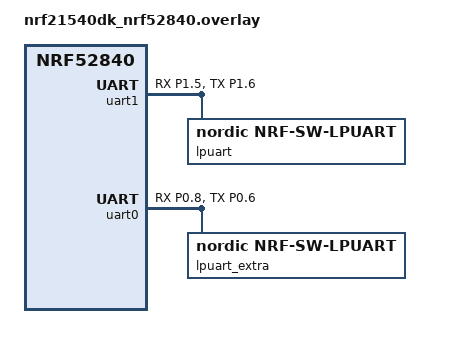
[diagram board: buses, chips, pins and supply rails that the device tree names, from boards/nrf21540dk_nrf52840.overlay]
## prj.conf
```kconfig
#
# Copyright (c) 2020 Nordic Semiconductor
#
# SPDX-License-Identifier: LicenseRef-Nordic-5-Clause
#
CONFIG_NRF_SW_LPUART=y

# Sample is showing low power capabilities of low power uart module thus
# console/logging uart is disabled.

CONFIG_CONSOLE=n
CONFIG_UART_CONSOLE=n
CONFIG_NRFX_GPIOTE_NUM_OF_EVT_HANDLERS=4
```

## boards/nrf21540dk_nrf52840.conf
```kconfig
#
# Copyright (c) 2024 Nordic Semiconductor
#
# SPDX-License-Identifier: LicenseRef-Nordic-5-Clause
#
CONFIG_UART_1_ASYNC=y
CONFIG_UART_1_INTERRUPT_DRIVEN=n
CONFIG_UART_1_NRF_HW_ASYNC=y
CONFIG_UART_1_NRF_HW_ASYNC_TIMER=2
CONFIG_UART_1_NRF_ASYNC_LOW_POWER=y
CONFIG_NRFX_TIMER2=y

CONFIG_UART_2_ASYNC=y
CONFIG_UART_2_INTERRUPT_DRIVEN=n
CONFIG_UART_2_NRF_HW_ASYNC=y
CONFIG_UART_2_NRF_HW_ASYNC_TIMER=3
CONFIG_UART_2_NRF_ASYNC_LOW_POWER=y
CONFIG_NRFX_TIMER3=y
```

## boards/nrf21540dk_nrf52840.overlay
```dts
/* SPDX-License-Identifier: LicenseRef-Nordic-5-Clause */

&uart1 {
	status = "okay";
	pinctrl-0 = <&uart1_default>;
	pinctrl-1 = <&uart1_sleep>;
	pinctrl-names = "default", "sleep";
	lpuart: nrf-sw-lpuart {
		compatible = "nordic,nrf-sw-lpuart";
		status = "okay";
		req-pin = <39>;
		rdy-pin = <40>;
	};
};

&uart0 {
	status = "okay";
	pinctrl-0 = <&uart0_default>;
	pinctrl-1 = <&uart0_sleep>;
	pinctrl-names = "default", "sleep";
	lpuart_extra: nrf-sw-lpuart {
		compatible = "nordic,nrf-sw-lpuart";
		status = "okay";
		req-pin = <5>;
		rdy-pin = <7>;
	};
};



&gpiote {
	interrupts = <6 NRF_DEFAULT_IRQ_PRIORITY>;
};

&pinctrl {
	uart1_default: uart1_default {
		group1 {
			psels = <NRF_PSEL(UART_RX, 1, 5)>,
				<NRF_PSEL(UART_TX, 1, 6)>,
				<NRF_PSEL_DISCONNECTED(UART_CTS)>,
				<NRF_PSEL_DISCONNECTED(UART_CTS)>;
		};

		group2 {
			psels = <NRF_PSEL(UART_RX, 1, 5)>,
				<NRF_PSEL(UART_TX, 1, 6)>,
				<NRF_PSEL_DISCONNECTED(UART_CTS)>,
				<NRF_PSEL_DISCONNECTED(UART_CTS)>;
		};
	};

	uart1_sleep: uart1_sleep {
		group1 {
			psels = <NRF_PSEL(UART_RX, 1, 5)>,
				<NRF_PSEL(UART_TX, 1, 6)>,
				<NRF_PSEL_DISCONNECTED(UART_CTS)>,
				<NRF_PSEL_DISCONNECTED(UART_CTS)>;
			low-power-enable;
		};
	};

	uart0_default: uart0_default {
		group1 {
			psels = <NRF_PSEL(UART_RX, 0, 8)>,
				<NRF_PSEL(UART_TX, 0, 6)>,
				<NRF_PSEL_DISCONNECTED(UART_CTS)>,
				<NRF_PSEL_DISCONNECTED(UART_CTS)>;
		};

		group2 {
			psels = <NRF_PSEL(UART_RX, 0, 8)>,
				<NRF_PSEL(UART_TX, 0, 6)>,
				<NRF_PSEL_DISCONNECTED(UART_CTS)>,
				<NRF_PSEL_DISCONNECTED(UART_CTS)>;
		};
	};

	uart0_sleep: uart0_sleep {
		group1 {
			psels = <NRF_PSEL(UART_RX, 0, 8)>,
				<NRF_PSEL(UART_TX, 0, 6)>,
				<NRF_PSEL_DISCONNECTED(UART_CTS)>,
				<NRF_PSEL_DISCONNECTED(UART_CTS)>;
			low-power-enable;
		};
	};
};
```

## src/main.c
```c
/*
 * Copyright (c) 2020 Nordic Semiconductor ASA
 *
 * SPDX-License-Identifier: LicenseRef-Nordic-5-Clause
 */

#include <string.h>
#include <stdio.h>
#include <zephyr/kernel.h>
#include <zephyr/device.h>
#include <zephyr/devicetree.h>
#include <zephyr/logging/log.h>
#include <zephyr/drivers/uart.h>

LOG_MODULE_REGISTER(app);

#define BUF_SIZE 64
static K_MEM_SLAB_DEFINE(uart_slab, BUF_SIZE, 3, 4);

#define TX_DATA_SIZE 5
static const uint8_t tx_buf[TX_DATA_SIZE] = {1, 2, 3, 4, 5};
static uint8_t buffer_print[TX_DATA_SIZE * 5 + 1];

static void to_display_format(const uint8_t *src, size_t size, char *dst)
{
	size_t i;

	for (i = 0; i < size; i++) {
		sprintf(dst + 5 * i, "0x%02x,", src[i]);
	}
}

static void verify_buffers(const uint8_t *tx_data, char *rx_data, size_t size)
{
	if (memcmp(tx_data, rx_data, size)) {
		to_display_format(tx_data, size, buffer_print);
		LOG_ERR("Buffer contents are different: %s", buffer_print);
		to_display_format(rx_data, size, buffer_print);
		LOG_ERR("                           vs: %s", buffer_print);
		__ASSERT(false, "Buffer contents are different");
	}
}

static void uart_irq_handler(const struct device *dev, void *context)
{
	if (uart_irq_tx_ready(dev)) {
		(void)uart_fifo_fill(dev, tx_buf, TX_DATA_SIZE);
		uart_irq_tx_disable(dev);
		LOG_INF("IRQ Tx sent %d bytes", TX_DATA_SIZE);
	}

	if (uart_irq_rx_ready(dev)) {
		uint8_t buf[TX_DATA_SIZE + 1];
		int len = uart_fifo_read(dev, buf, sizeof(buf));

		LOG_INF("IRQ Received data %d bytes", len);
		__ASSERT(len == 1 || len == TX_DATA_SIZE, "Received unexpected data");
		if (len == TX_DATA_SIZE) {
			verify_buffers(tx_buf, buf, TX_DATA_SIZE);
		}
	}
}

static void interrupt_driven(const struct device *dev)
{
	uint8_t c = 0xff;

	uart_irq_callback_set(dev, uart_irq_handler);
	uart_irq_rx_enable(dev);
	while (1) {
		uart_irq_tx_enable(dev);
		k_sleep(K_MSEC(500));

		uart_poll_out(dev, c);
		k_sleep(K_MSEC(100));
	}
}

static void uart_callback(const struct device *dev, struct uart_event *evt, void *user_data)
{
	struct device *uart = user_data;
	int err;

	switch (evt->type) {
	case UART_TX_DONE:
		LOG_INF("ASYNC Tx sent %d bytes", evt->data.tx.len);
		break;

	case UART_TX_ABORTED:
		LOG_ERR("ASYNC Tx aborted");
		break;

	case UART_RX_RDY:
		LOG_INF("ASYNC Received data %d bytes", evt->data.rx.len);
		__ASSERT(evt->data.rx.len == 1 || evt->data.rx.len == TX_DATA_SIZE,
			 "Received unexpected data");
		if (evt->data.rx.len == TX_DATA_SIZE) {
			verify_buffers(tx_buf, evt->data.rx.buf + evt->data.rx.offset,
				       TX_DATA_SIZE);
		}
		break;

	case UART_RX_BUF_REQUEST: {
		uint8_t *buf;

		err = k_mem_slab_alloc(&uart_slab, (void **)&buf, K_NO_WAIT);
		__ASSERT(err == 0, "Failed to allocate slab");

		err = uart_rx_buf_rsp(uart, buf, BUF_SIZE);
		__ASSERT(err == 0, "Failed to provide new buffer");
		break;
	}

	case UART_RX_BUF_RELEASED:
		k_mem_slab_free(&uart_slab, (void *)evt->data.rx_buf.buf);
		break;

	case UART_RX_DISABLED:
		break;

	case UART_RX_STOPPED:
		break;
	}
}

static void async(const struct device *lpuart)
{
	int err;
	uint8_t *buf;

	err = k_mem_slab_alloc(&uart_slab, (void **)&buf, K_NO_WAIT);
	__ASSERT(err == 0, "Failed to alloc slab");

	err = uart_callback_set(lpuart, uart_callback, (void *)lpuart);
	__ASSERT(err == 0, "Failed to set callback");

	err = uart_rx_enable(lpuart, buf, BUF_SIZE, 10000);
	__ASSERT(err == 0, "Failed to enable RX");

	for (int i = 0; i < 5; i++) {
		err = uart_tx(lpuart, tx_buf, sizeof(tx_buf), 10000);
		__ASSERT(err == 0, "Failed to initiate transmission");

		k_sleep(K_MSEC(500));

		uart_poll_out(lpuart, tx_buf[0]);
		k_sleep(K_MSEC(100));
	}

	uart_rx_disable(lpuart);
}

int main(void)
{
	const struct device *lpuart = DEVICE_DT_GET(DT_NODELABEL(lpuart));
	const struct device *lpuart_extra = DEVICE_DT_GET(DT_NODELABEL(lpuart_extra));

	__ASSERT(device_is_ready(lpuart), "LPUART device not ready");
	__ASSERT(device_is_ready(lpuart_extra), "LPUART extra device not ready");

	if (IS_ENABLED(CONFIG_NRF_SW_LPUART_INT_DRIVEN)) {
		// interrupt_driven(lpuart);
		interrupt_driven(lpuart_extra);
	} else {
		async(lpuart);
		k_sleep(K_SECONDS(5));
		async(lpuart_extra);
	}

	return 0;
}
```
